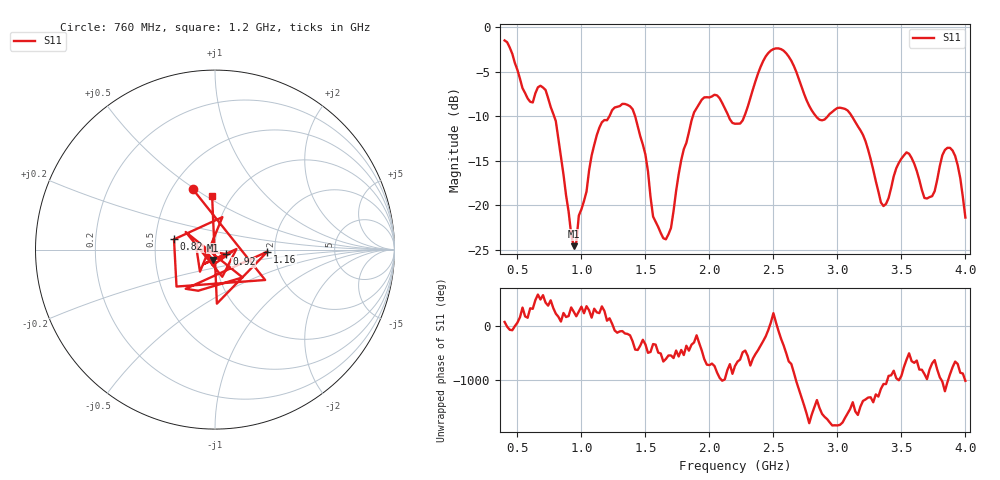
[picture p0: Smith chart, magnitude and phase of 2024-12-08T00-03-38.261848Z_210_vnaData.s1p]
!Created with skrf (http://scikit-rf.org).
# Hz S RI R 50.0
!freq ReS11 ImS11
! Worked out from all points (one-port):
!   181 points, 400 MHz to 4 GHz, reference 50 ohm
!   lowest |S11| = -24.6 dB at 940 MHz (marker M1), VSWR 1.13, Z = 48.6 - j5.64 ohm
!   |S11| at or under -10 dB: 787 MHz to 1.219 GHz (431.8 MHz wide, 43.1 % of centre); 1.42 GHz to 1.871 GHz (450.6 MHz wide, 27.4 % of centre); 3.113 GHz to end of sweep (the widest 3 of 5)
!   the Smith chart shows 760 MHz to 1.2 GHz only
!   S11 on the Smith chart (normalised r, x): 760 MHz: 0.64, +0.49; 820 MHz: 0.62, +0.08; 920 MHz: 1.14, -0.06; 1.16 GHz: 1.83, -0.04; 1.2 GHz: 0.81, +0.53
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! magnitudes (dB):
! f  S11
! 400 MHz  -1.5
! 580 MHz  -8.0
! 680 MHz  -6.6
! 760 MHz  -9.0
! 820 MHz  -12.6
! 860 MHz  -16.6
! 920 MHz  -23.3
! 940 MHz  -24.6
! 1.16 GHz  -10.7
! 1.2 GHz  -10.4
! 1.3 GHz  -8.9
! 1.42 GHz  -10.0
! 1.5 GHz  -14.3
! 1.56 GHz  -21.3
! 1.64 GHz  -23.7
! 1.7 GHz  -22.6
! 1.76 GHz  -16.5
! 1.96 GHz  -7.9
! 2.2 GHz  -10.8
! 2.46 GHz  -2.9
! 2.66 GHz  -4.3
! 2.86 GHz  -10.4
! 3.1 GHz  -9.7
! 3.36 GHz  -20.1
! 3.56 GHz  -14.2
! 3.7 GHz  -19.2
! 3.9 GHz  -13.9
! 4 GHz  -21.4
